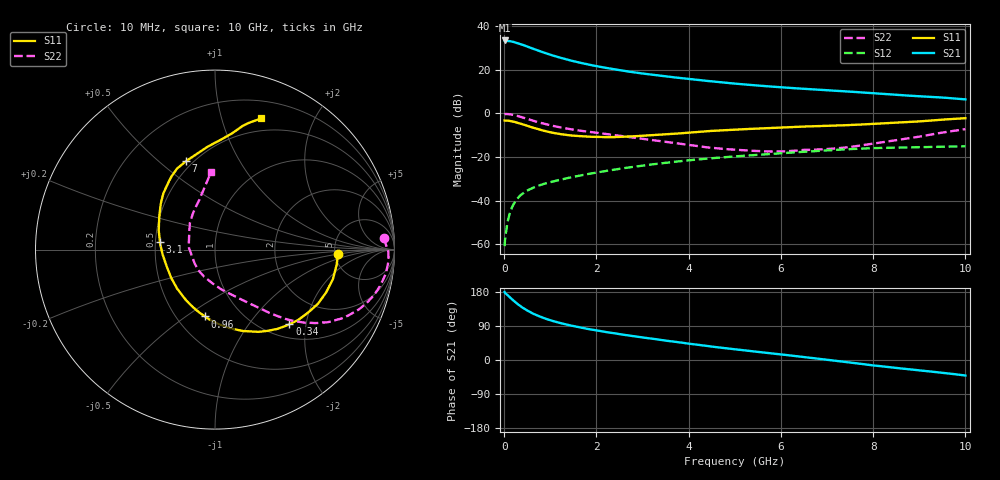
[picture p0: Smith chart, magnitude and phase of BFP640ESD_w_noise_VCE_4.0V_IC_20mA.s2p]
! Infineon Technologies  Discrete & RF Semiconductors
! BFP640ESD
! VCE =  4.0 V,  IC =  20 mA
! Common Emitter S-Parameters:  Jan 2016
# GHz  S  MA  R  50
!  f  S11  S21  S12  S22
! GHz  MAG  ANG  MAG  ANG  MAG  ANG  MAG  ANG
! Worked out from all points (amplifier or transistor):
!   233 points, 10 MHz to 10 GHz, reference 50 ohm
!   highest |S21| = 33.4 dB at 10 MHz (marker M1)
!   |S21| within 3 dB of that: start of sweep to 527.2 MHz
!   unconditionally stable (mu >= 1): start of sweep to 14.43 MHz; 3.247 GHz to 7.461 GHz
!   at 200 MHz: K = 0.27, MSG = 37.3 dB, |S12| = -41.8 dB
!   at 1.74 GHz: K = 0.88, MSG = 25.5 dB, |S12| = -28.2 dB
!   at 10 GHz: K = 0.89, MSG = 10.8 dB, |S12| = -15.1 dB
!   lowest NFmin = 0.89 dB at 450 MHz
!   S11 on the Smith chart (normalised r, x): 10 MHz: 5.36, -0.51; 340 MHz: 1.27, -1.61; 960 MHz: 0.68, -0.59; 3.1 GHz: 0.53, +0.05; 7 GHz: 0.46, +0.62; 10 GHz: 0.37, +1.35
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0.01  0.6879 -2.1  47.02 179.5  0.0009 29.1  0.9427 3.8
0.02  0.6848 -2.8  46.56 177.2  0.0013 54.2  0.9661 -0.8
0.05  0.6831 -7.2  46.05 173.5  0.0022 69.8  0.969 -3.7
0.1  0.6771 -14.1  45.71 168.2  0.0042 74.0  0.9616 -8.0
0.185  0.6519 -25.7  43.96 158.7  0.0075 72.7  0.9282 -14.7
0.26  0.6219 -35.3  41.8 150.8  0.0102 70.5  0.8899 -20.0
0.34  0.5876 -45.1  39.37 143.3  0.0128 68.1  0.8426 -25.0
0.45  0.5398 -57.0  35.76 134.3  0.0158 64.9  0.7763 -30.5
0.6  0.4791 -71.2  31.12 123.8  0.0191 61.9  0.6917 -36.3
0.8  0.415 -87.3  26.04 113.3  0.023 59.8  0.6022 -41.6
0.96  0.3766 -98.6  22.86 106.5  0.0258 58.9  0.5461 -44.7
1.1  0.3514 -107.7  20.54 101.3  0.0281 58.6  0.5056 -46.9
1.3  0.3259 -119.2  17.87 94.9  0.0315 58.1  0.4594 -49.6
1.68  0.2975 -137.8  14.25 85.1  0.0381 57.7  0.3968 -53.7
2.22  0.285 -159.6  10.98 73.6  0.048 56.2  0.3356 -59.5
3.1  0.3101 171.7  7.962 58.0  0.0654 51.4  0.253 -73.0
3.4  0.3247 163.8  7.267 53.0  0.0714 49.3  0.2307 -78.9
5.1  0.4297 131.3  4.714 26.9  0.1048 35.0  0.1445 -132.4
6.8  0.5094 111.0  3.494 3.5  0.1375 19.5  0.1483 168.3
7  0.5182 108.3  3.395 0.5  0.1417 17.6  0.1519 163.2
8.4  0.602 88.7  2.704 -19.6  0.1631 1.5  0.2341 122.0
10  0.7754 70.5  2.093 -41.0  0.1761 -14.0  0.4346 92.9
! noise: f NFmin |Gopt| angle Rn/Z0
0.45  0.89  0.04  -158  0.09
0.9  0.89  0.06  -160  0.09
1.9  0.91  0.11  -131  0.1
2.4  0.93  0.12  -127  0.11
5.5  1.18  0.36  -111  0.14
10  1.75  0.58  -76  0.7
